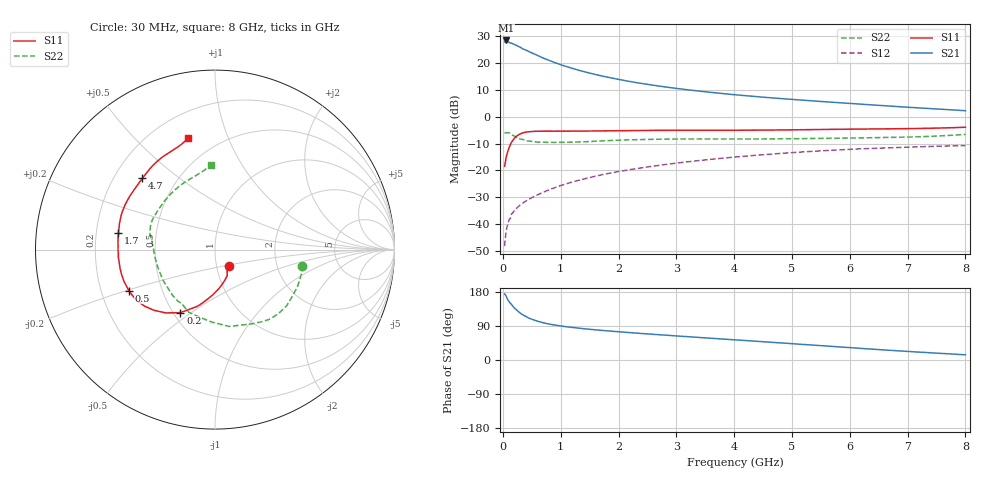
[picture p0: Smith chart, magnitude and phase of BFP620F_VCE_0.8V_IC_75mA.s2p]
! Infineon Technologies  Discrete & RF Semiconductors
! BFP620F
! VCE =  0.8 V,  IC =  75 mA
! Common Emitter S-Parameters:  Dec 2014
# GHz  S  MA  R  50
!  f  S11  S21  S12  S22
! GHz  MAG  ANG  MAG  ANG  MAG  ANG  MAG  ANG
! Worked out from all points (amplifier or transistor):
!   95 points, 30 MHz to 8 GHz, reference 50 ohm
!   highest |S21| = 28.4 dB at 50 MHz (marker M1)
!   |S21| within 3 dB of that: start of sweep to 334.9 MHz
!   unconditionally stable (mu >= 1): start of sweep to 153.2 MHz; 863.1 MHz to end of sweep
!   at 300 MHz: K = 0.87, MSG = 29.3 dB, |S12| = -32.8 dB
!   at 3.3 GHz: K = 1.08, MAG = 11.5 dB, |S12| = -16.5 dB
!   at 8 GHz: K = 1.09, MAG = 4.6 dB, |S12| = -10.7 dB
!   S11 on the Smith chart (normalised r, x): 30 MHz: 1.15, -0.21; 200 MHz: 0.54, -0.45; 500 MHz: 0.32, -0.20; 1.7 GHz: 0.30, +0.08; 4.7 GHz: 0.32, +0.37; 8 GHz: 0.35, +0.73
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0.03  0.1199 -50.0  24.68 174.2  0.0039 74.1  0.4945 -10.4
0.04  0.1343 -59.8  24.86 172.6  0.0053 69.5  0.5 -15.4
0.05  0.1598 -64.7  26.32 170.4  0.0065 74.8  0.5011 -20.0
0.08  0.2171 -83.9  25.9 160.4  0.0095 68.4  0.5042 -33.5
0.1  0.2526 -92.8  24.78 155.4  0.0112 69.2  0.5035 -43.0
0.12  0.2866 -100.0  23.77 151.4  0.0125 64.1  0.4916 -52.4
0.15  0.3344 -108.0  23.47 146.3  0.0154 65.9  0.4617 -63.7
0.2  0.4003 -118.7  22.16 136.9  0.0179 62.6  0.4355 -79.5
0.3  0.4796 -135.2  19.65 123.7  0.0229 60.3  0.3858 -103.2
0.35  0.5031 -141.2  18.21 118.7  0.025 61.1  0.3781 -112.8
0.5  0.5315 -154.5  15.43 107.6  0.0312 61.8  0.3471 -133.4
0.6  0.5372 -160.7  13.85 102.4  0.0352 62.5  0.3372 -143.0
0.8  0.5392 -169.2  11.21 94.9  0.0438 63.8  0.3328 -156.0
1.1  0.5387 -178.0  8.594 87.7  0.0566 64.6  0.3357 -170.2
1.4  0.5423 175.7  6.928 82.6  0.0695 64.2  0.3417 -179.8
1.7  0.5453 170.4  5.777 78.3  0.0827 63.3  0.3545 172.9
2.7  0.5581 157.2  3.729 66.7  0.1244 57.6  0.381 160.9
4.1  0.561 141.5  2.523 52.3  0.1811 47.3  0.3852 147.4
4.7  0.5665 135.5  2.227 46.1  0.2039 42.5  0.3875 139.8
5.4  0.5779 129.1  1.96 38.9  0.2287 36.5  0.3946 130.7
6.7  0.5963 116.4  1.579 25.6  0.2647 25.0  0.4127 113.0
8  0.6379 103.6  1.297 13.7  0.2906 14.5  0.4696 92.8
